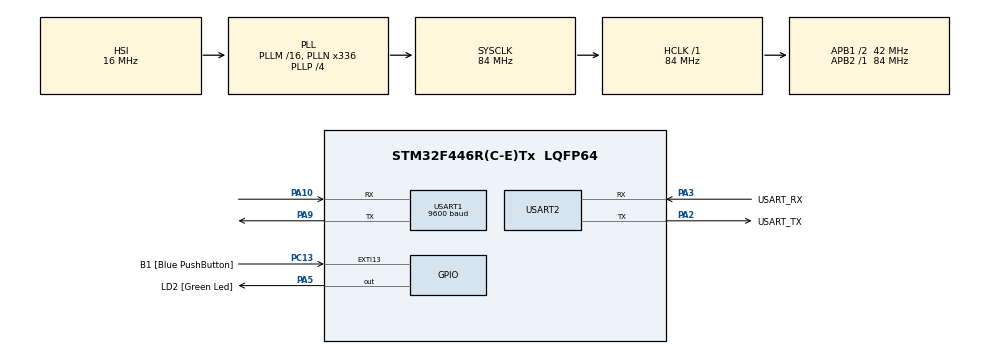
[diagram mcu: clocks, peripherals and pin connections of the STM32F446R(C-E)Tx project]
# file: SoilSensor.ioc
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Mcu.Family=STM32F4
Mcu.Name=STM32F446R(C-E)Tx
Mcu.Package=LQFP64
NVIC.PriorityGroup=NVIC_PRIORITYGROUP_0
PA10.Mode=Asynchronous
PA10.Signal=USART1_RX
PA13.GPIO_Label=TMS
PA13.Signal=SYS_JTMS-SWDIO
PA14.GPIO_Label=TCK
PA14.Signal=SYS_JTCK-SWCLK
PA2.GPIO_Label=USART_TX
PA2.Mode=Asynchronous
PA2.Signal=USART2_TX
PA3.GPIO_Label=USART_RX
PA3.Mode=Asynchronous
PA3.Signal=USART2_RX
PA5.GPIO_Label=LD2 [Green Led]
PA5.Signal=GPIO_Output
PA9.Mode=Asynchronous
PA9.Signal=USART1_TX
PB3.GPIO_Label=SWO
PB3.Signal=SYS_JTDO-SWO
PC13.GPIO_Label=B1 [Blue PushButton]
PC13.GPIO_ModeDefaultEXTI=GPIO_MODE_IT_FALLING
PC13.Signal=GPXTI13
PC14-OSC32_IN.Signal=RCC_OSC32_IN
PC15-OSC32_OUT.Signal=RCC_OSC32_OUT
PH0-OSC_IN.Signal=RCC_OSC_IN
PH1-OSC_OUT.Signal=RCC_OSC_OUT
ProjectManager.HeapSize=0x200
ProjectManager.StackSize=0x400
ProjectManager.TargetToolchain=STM32CubeIDE
RCC.AHBFreq_Value=84000000
RCC.APB1CLKDivider=RCC_HCLK_DIV2
RCC.APB1Freq_Value=42000000
RCC.APB1TimFreq_Value=84000000
RCC.APB2Freq_Value=84000000
RCC.APB2TimFreq_Value=84000000
RCC.CortexFreq_Value=84000000
RCC.FLatency-AdvancedSettings=FLASH_LATENCY_2
RCC.HCLKFreq_Value=84000000
RCC.HSE_VALUE=8000000
RCC.HSI_VALUE=16000000
RCC.LSE_VALUE=32768
RCC.PLLN=336
RCC.PLLP=RCC_PLLP_DIV4
RCC.SYSCLKFreq_VALUE=84000000
RCC.SYSCLKSource=RCC_SYSCLKSOURCE_PLLCLK
RCC.USBFreq_Value=168000000
RCC.VCOOutputFreq_Value=336000000
USART1.BaudRate=9600
USART1.VirtualMode=VM_ASYNC
USART2.VirtualMode=VM_ASYNC
board=NUCLEO-F446RE

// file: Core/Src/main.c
/* USER CODE BEGIN Header */
/**
  ******************************************************************************
  * @file           : main.c
  * @brief          : Main program body
  ******************************************************************************
  * @attention
  *
  * Copyright (c) 2026 STMicroelectronics.
  * All rights reserved.
  *
  * This software is licensed under terms that can be found in the LICENSE file
  * in the root directory of this software component.
  * If no LICENSE file comes with this software, it is provided AS-IS.
  *
  ******************************************************************************
  */
/* USER CODE END Header */
#include "main.h"

UART_HandleTypeDef huart1;
UART_HandleTypeDef huart2;

/* USER CODE BEGIN PV */
#define SLAVEADDRESS 0x01

uint8_t request[] = {SLAVEADDRESS,0x03,0x00,0x00,0x00,0x03,0x05,0xCB};

uint8_t response[32];
char msg[128];

void printUART2(char *str)
{
    HAL_UART_Transmit(&huart2, (uint8_t*)str, strlen(str), HAL_MAX_DELAY);
}

/* USER CODE END PV */

void SystemClock_Config(void);
static void MX_GPIO_Init(void);
static void MX_USART1_UART_Init(void);
static void MX_USART2_UART_Init(void);

int main(void)
{

  /* MCU Configuration--------------------------------------------------------*/

  /* Reset of all peripherals, Initializes the Flash interface and the Systick. */
  HAL_Init();

  /* Configure the system clock */
  SystemClock_Config();

  /* Initialize all configured peripherals */
  MX_GPIO_Init();
  MX_USART1_UART_Init();
  MX_USART2_UART_Init();

  /* Infinite loop */
  /* USER CODE BEGIN WHILE */
  while (1)
  {

	   // --- TRANSMITIR ---
	    HAL_GPIO_WritePin(RS485_DE_GPIO_Port, RS485_DE_Pin, GPIO_PIN_SET);

	    HAL_UART_Transmit(&huart1, request, sizeof(request), HAL_MAX_DELAY);

	    // esperar a que termine realmente la transmisión
	    while(__HAL_UART_GET_FLAG(&huart1, UART_FLAG_TC) == RESET);

	    // pasar a modo recepción
	    HAL_GPIO_WritePin(RS485_DE_GPIO_Port, RS485_DE_Pin, GPIO_PIN_RESET);

	    // limpiar buffer
	    memset(response, 0, sizeof(response));

	    // --- RECIBIR (robusto byte a byte) ---
	    uint8_t idx = 0;
	    uint32_t start = HAL_GetTick();

	    while((HAL_GetTick() - start) < 500)
	    {
	        if(HAL_UART_Receive(&huart1, &response[idx], 1, 10) == HAL_OK)
	        {
	            idx++;

	            if(idx >= 11) break; // ya tengo trama completa
	        }
	    }

	    // --- VALIDAR ---
	    if(idx >= 11)
	    {
	        uint16_t hum_raw = (response[3] << 8) | response[4];
	        uint16_t temp_raw  = (response[5] << 8) | response[6];
	        uint16_t ec_raw   = (response[7] << 8) | response[8];

	        float temperatura = temp_raw / 10.0;
	        float humedad    = hum_raw / 10.0;
	        float ec         = ec_raw;

	        sprintf(msg, "Temp: %.1f C | Hum: %.1f %% | EC: %.0f us/cm\r\n",
	                temperatura, humedad, ec);

	        HAL_UART_Transmit(&huart2, (uint8_t*)msg, strlen(msg), HAL_MAX_DELAY);
	    }
	    else
	    {
	        char *err = "Error leyendo sensor\r\n";
	        HAL_UART_Transmit(&huart2, (uint8_t*)err, strlen(err), HAL_MAX_DELAY);
	    }

	    HAL_Delay(2000);
    /* USER CODE END WHILE */

  }
}

void SystemClock_Config(void)
{
  RCC_OscInitTypeDef RCC_OscInitStruct = {0};
  RCC_ClkInitTypeDef RCC_ClkInitStruct = {0};

  /** Configure the main internal regulator output voltage
  */
  __HAL_RCC_PWR_CLK_ENABLE();
  __HAL_PWR_VOLTAGESCALING_CONFIG(PWR_REGULATOR_VOLTAGE_SCALE3);

  /** Initializes the RCC Oscillators according to the specified parameters
  * in the RCC_OscInitTypeDef structure.
  */
  RCC_OscInitStruct.OscillatorType = RCC_OSCILLATORTYPE_HSI;
  RCC_OscInitStruct.HSIState = RCC_HSI_ON;
  RCC_OscInitStruct.HSICalibrationValue = RCC_HSICALIBRATION_DEFAULT;
  RCC_OscInitStruct.PLL.PLLState = RCC_PLL_ON;
  RCC_OscInitStruct.PLL.PLLSource = RCC_PLLSOURCE_HSI;
  RCC_OscInitStruct.PLL.PLLM = 16;
  RCC_OscInitStruct.PLL.PLLN = 336;
  RCC_OscInitStruct.PLL.PLLP = RCC_PLLP_DIV4;
  RCC_OscInitStruct.PLL.PLLQ = 2;
  RCC_OscInitStruct.PLL.PLLR = 2;
  if (HAL_RCC_OscConfig(&RCC_OscInitStruct) != HAL_OK)
  {
    Error_Handler();
  }

  /** Initializes the CPU, AHB and APB buses clocks
  */
  RCC_ClkInitStruct.ClockType = RCC_CLOCKTYPE_HCLK|RCC_CLOCKTYPE_SYSCLK
                              |RCC_CLOCKTYPE_PCLK1|RCC_CLOCKTYPE_PCLK2;
  RCC_ClkInitStruct.SYSCLKSource = RCC_SYSCLKSOURCE_PLLCLK;
  RCC_ClkInitStruct.AHBCLKDivider = RCC_SYSCLK_DIV1;
  RCC_ClkInitStruct.APB1CLKDivider = RCC_HCLK_DIV2;
  RCC_ClkInitStruct.APB2CLKDivider = RCC_HCLK_DIV1;

  if (HAL_RCC_ClockConfig(&RCC_ClkInitStruct, FLASH_LATENCY_2) != HAL_OK)
  {
    Error_Handler();
  }
}

static void MX_USART1_UART_Init(void)
{

  huart1.Instance = USART1;
  huart1.Init.BaudRate = 4800;
  huart1.Init.WordLength = UART_WORDLENGTH_8B;
  huart1.Init.StopBits = UART_STOPBITS_1;
  huart1.Init.Parity = UART_PARITY_NONE;
  huart1.Init.Mode = UART_MODE_TX_RX;
  huart1.Init.HwFlowCtl = UART_HWCONTROL_NONE;
  huart1.Init.OverSampling = UART_OVERSAMPLING_16;
  if (HAL_UART_Init(&huart1) != HAL_OK)
  {
    Error_Handler();
  }

}

static void MX_USART2_UART_Init(void)
{

  huart2.Instance = USART2;
  huart2.Init.BaudRate = 115200;
  huart2.Init.WordLength = UART_WORDLENGTH_8B;
  huart2.Init.StopBits = UART_STOPBITS_1;
  huart2.Init.Parity = UART_PARITY_NONE;
  huart2.Init.Mode = UART_MODE_TX_RX;
  huart2.Init.HwFlowCtl = UART_HWCONTROL_NONE;
  huart2.Init.OverSampling = UART_OVERSAMPLING_16;
  if (HAL_UART_Init(&huart2) != HAL_OK)
  {
    Error_Handler();
  }

}

static void MX_GPIO_Init(void)
{
  GPIO_InitTypeDef GPIO_InitStruct = {0};

  /* GPIO Ports Clock Enable */
  __HAL_RCC_GPIOC_CLK_ENABLE();
  __HAL_RCC_GPIOH_CLK_ENABLE();
  __HAL_RCC_GPIOA_CLK_ENABLE();
  __HAL_RCC_GPIOB_CLK_ENABLE();

  /*Configure GPIO pin Output Level */
  HAL_GPIO_WritePin(LD2_GPIO_Port, LD2_Pin, GPIO_PIN_RESET);

  /*Configure GPIO pin : B1_Pin */
  GPIO_InitStruct.Pin = B1_Pin;
  GPIO_InitStruct.Mode = GPIO_MODE_IT_FALLING;
  GPIO_InitStruct.Pull = GPIO_NOPULL;
  HAL_GPIO_Init(B1_GPIO_Port, &GPIO_InitStruct);

  /*Configure GPIO pin : LD2_Pin */
  GPIO_InitStruct.Pin = LD2_Pin;
  GPIO_InitStruct.Mode = GPIO_MODE_OUTPUT_PP;
  GPIO_InitStruct.Pull = GPIO_NOPULL;
  GPIO_InitStruct.Speed = GPIO_SPEED_FREQ_LOW;
  HAL_GPIO_Init(LD2_GPIO_Port, &GPIO_InitStruct);

  /* USER CODE BEGIN MX_GPIO_Init_2 */
  /* Configuracion GPIO Pin RS485*/
  GPIO_InitStruct.Pin = RS485_DE_Pin;
  GPIO_InitStruct.Mode = GPIO_MODE_OUTPUT_PP;
  GPIO_InitStruct.Pull = GPIO_NOPULL;
  GPIO_InitStruct.Speed = GPIO_SPEED_FREQ_LOW;
  HAL_GPIO_Init(RS485_DE_GPIO_Port, &GPIO_InitStruct);

  /* USER CODE END MX_GPIO_Init_2 */
}

void Error_Handler(void)
{
  __disable_irq();
  while (1)
  {
  }
}
